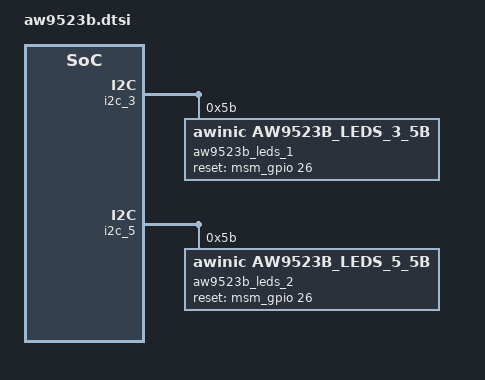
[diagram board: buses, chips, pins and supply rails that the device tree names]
&i2c_3 {
	aw9523b_leds_1@5B {
		compatible = "awinic,aw9523b_leds_3_5B";
		reg = <0x5B>;
		awinic,reset-gpio = <&msm_gpio 26 0x0>;
		awinic,max-current = <2>;	/* 0:40mA, 1:30mA, 2:20mA, 3:10mA */
		status = "okay";
		
		/* led1 RGB*/
		awinic,p1_2 {
			awinic,name = "aw9523b_led1_R";
			awinic,pin = <0x12>;
			awinic,max-brightness = <255>;
			awinic,brightness_reg = <0x22>;
			trigger = "loop1s,battery-charging";
			/*default_trigger = "usb-online";*/
		};
		awinic,p1_1 {
			awinic,name = "aw9523b_led1_G";
			awinic,pin = <0x11>;
			awinic,max-brightness = <255>;
			awinic,brightness_reg = <0x21>;
			trigger = "loop3s,battery-full";
		};
		awinic,p1_0 {
			awinic,name = "aw9523b_led1_B";
			awinic,pin = <0x10>;
			awinic,max-brightness = <255>;
			awinic,brightness_reg = <0x20>;
			trigger = "loop5s,breath";
		};
		
		/* led2 RGB*/
		awinic,p0_1 {
			awinic,name = "aw9523b_led2_R";
			awinic,pin = <0x01>;
			awinic,max-brightness = <255>;
			awinic,brightness_reg = <0x25>;
			trigger = "loop2s,battery-charging";
		};
		awinic,p0_0 {
			awinic,name = "aw9523b_led2_G";
			awinic,pin = <0x00>;
			awinic,max-brightness = <255>;
			awinic,brightness_reg = <0x24>;
			trigger = "loop4s,battery-full";
		};
		awinic,p1_3 {
			awinic,name = "aw9523b_led2_B";
			awinic,pin = <0x13>;
			awinic,max-brightness = <255>;
			awinic,brightness_reg = <0x23>;
			trigger = "loop6s,breath";
		};
		
		/* led3 RGB*/
		awinic,p0_4 {
			awinic,name = "aw9523b_led3_R";
			awinic,pin = <0x04>;
			awinic,max-brightness = <255>;
			awinic,brightness_reg = <0x28>;
			trigger = "loop5s,battery-charging";
		};
		awinic,p0_3 {
			awinic,name = "aw9523b_led3_G";
			awinic,pin = <0x03>;
			awinic,max-brightness = <255>;
			awinic,brightness_reg = <0x27>;
			trigger = "loop1s,battery-full";
		};
		awinic,p0_2 {
			awinic,name = "aw9523b_led3_B";
			awinic,pin = <0x02>;
			awinic,max-brightness = <255>;
			awinic,brightness_reg = <0x26>;
			trigger = "loop3s,breath";
		};
		
		/* led4 RGB*/
		awinic,p0_7 {
			awinic,name = "aw9523b_led4_R";
			awinic,pin = <0x07>;
			awinic,max-brightness = <255>;
			awinic,brightness_reg = <0x2b>;
			trigger = "loop6s,battery-charging";
		};
		awinic,p0_6 {
			awinic,name = "aw9523b_led4_G";
			awinic,pin = <0x06>;
			awinic,max-brightness = <255>;
			awinic,brightness_reg = <0x2a>;
			trigger = "loop2s,battery-full";
		};
		awinic,p0_5 {
			awinic,name = "aw9523b_led4_B";
			awinic,pin = <0x05>;
			awinic,max-brightness = <255>;
			awinic,brightness_reg = <0x29>;
			trigger = "loop4s,breath";
		};
		
		/* led5 RGB*/
		awinic,p1_6 {
			awinic,name = "aw9523b_led5_R";
			awinic,pin = <0x16>;
			awinic,max-brightness = <255>;
			awinic,brightness_reg = <0x2e>;
			trigger = "loop1s,battery-charging";
		};
		awinic,p1_5 {
			awinic,name = "aw9523b_led5_G";
			awinic,pin = <0x15>;
			awinic,max-brightness = <255>;
			awinic,brightness_reg = <0x2d>;
			trigger = "loop3s,battery-full";
		};
		awinic,p1_4 {
			awinic,name = "aw9523b_led5_B";
			awinic,pin = <0x14>;
			awinic,max-brightness = <255>;
			awinic,brightness_reg = <0x2c>;
			trigger = "loop5s,breath";
		};
	};
};

&i2c_5 {
	aw9523b_leds_2@5B {
		compatible = "awinic,aw9523b_leds_5_5B";
		reg = <0x5B>;
		awinic,reset-gpio = <&msm_gpio 26 0x0>;
		awinic,max-current = <2>;	/* 0:40mA, 1:30mA, 2:20mA, 3:10mA */
		status = "okay";
		
		/* led6 RGB*/
		awinic,p1_2 {
			awinic,name = "aw9523b_led6_R";
			awinic,pin = <0x12>;
			awinic,max-brightness = <255>;
			awinic,brightness_reg = <0x22>;
			trigger = "loop2s,battery-charging";
		};
		awinic,p1_1 {
			awinic,name = "aw9523b_led6_G";
			awinic,pin = <0x11>;
			awinic,max-brightness = <255>;
			awinic,brightness_reg = <0x21>;
			trigger = "loop4s,battery-full";
		};
		awinic,p1_0 {
			awinic,name = "aw9523b_led6_B";
			awinic,pin = <0x10>;
			awinic,max-brightness = <255>;
			awinic,brightness_reg = <0x20>;
			trigger = "loop6s,breath";
		};
		
		/* led7 RGB*/
		awinic,p0_1 {
			awinic,name = "aw9523b_led7_R";
			awinic,pin = <0x01>;
			awinic,max-brightness = <255>;
			awinic,brightness_reg = <0x25>;
			trigger = "loop5s,battery-charging";
		};
		awinic,p0_0 {
			awinic,name = "aw9523b_led7_G";
			awinic,pin = <0x00>;
			awinic,max-brightness = <255>;
			awinic,brightness_reg = <0x24>;
			trigger = "loop1s,battery-full";
		};
		awinic,p1_3 {
			awinic,name = "aw9523b_led7_B";
			awinic,pin = <0x13>;
			awinic,max-brightness = <255>;
			awinic,brightness_reg = <0x23>;
			trigger = "loop3s,breath";
		};
		
		/* led8 RGB*/
		awinic,p0_4 {
			awinic,name = "aw9523b_led8_R";
			awinic,pin = <0x04>;
			awinic,max-brightness = <255>;
			awinic,brightness_reg = <0x28>;
			trigger = "loop6s,battery-charging";
		};
		awinic,p0_3 {
			awinic,name = "aw9523b_led8_G";
			awinic,pin = <0x03>;
			awinic,max-brightness = <255>;
			awinic,brightness_reg = <0x27>;
			trigger = "loop2s,battery-full";
		};
		awinic,p0_2 {
			awinic,name = "aw9523b_led8_B";
			awinic,pin = <0x02>;
			awinic,max-brightness = <255>;
			awinic,brightness_reg = <0x26>;
			trigger = "loop4s,breath";
		};
	};
};
